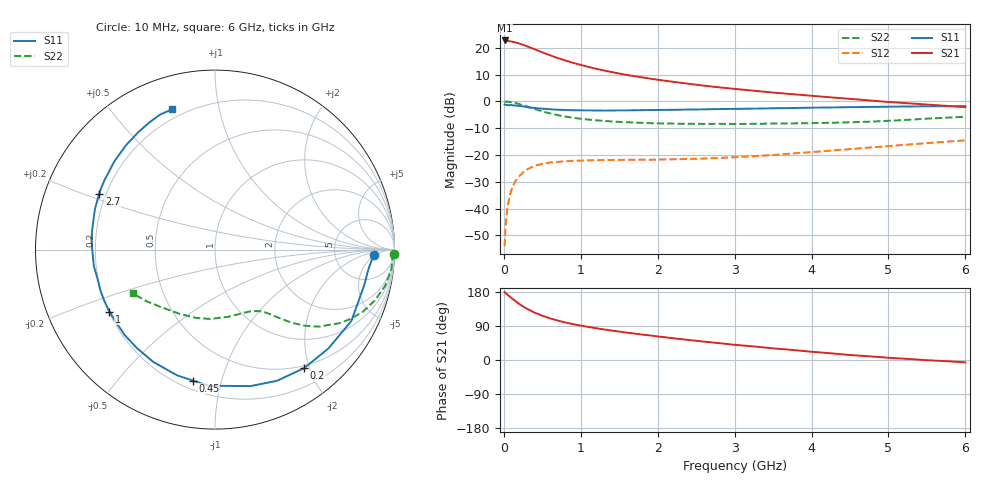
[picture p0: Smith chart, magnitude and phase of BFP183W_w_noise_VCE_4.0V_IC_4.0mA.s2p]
! Infineon Technologies  Discrete & RF Semiconductors
! BFP183W
! VCE =  4.0 V,  IC =  4.0 mA
! Common Emitter S-Parameters:  Jan 2017
# GHz  S  MA  R  50
!  f  S11  S21  S12  S22
! GHz  MAG  ANG  MAG  ANG  MAG  ANG  MAG  ANG
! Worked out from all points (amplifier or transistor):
!   77 points, 10 MHz to 6 GHz, reference 50 ohm
!   highest |S21| = 22.7 dB at 10 MHz (marker M1)
!   |S21| within 3 dB of that: start of sweep to 374 MHz
!   unconditionally stable (mu >= 1): 2.353 GHz to 4.499 GHz
!   at 130 MHz: K = 0.07, MSG = 26.5 dB, |S12| = -30.9 dB
!   at 2.2 GHz: K = 0.97, MSG = 14.4 dB, |S12| = -21.6 dB
!   at 6 GHz: K = 0.82, MSG = 6.2 dB, |S12| = -14.5 dB
!   lowest NFmin = 0.73 dB at 450 MHz
!   S11 on the Smith chart (normalised r, x): 10 MHz: 15, -4; 200 MHz: 0.46, -1.91; 450 MHz: 0.25, -0.81; 1 GHz: 0.20, -0.26; 2.7 GHz: 0.17, +0.22; 6 GHz: 0.15, +0.73
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0.01  0.8839 -2.0  13.7 179.5  0.002 86.3  0.9988 -1.3
0.02  0.8626 -7.0  13.52 176.8  0.0041 97.0  0.9895 -2.6
0.04  0.8557 -11.5  13.45 173.5  0.0087 84.8  0.9887 -5.0
0.1  0.8577 -27.6  13.1 163.5  0.0226 76.4  0.9686 -12.2
0.15  0.8382 -41.1  12.61 155.6  0.0326 69.0  0.9334 -17.8
0.2  0.8262 -53.1  12.01 148.0  0.0402 63.5  0.8934 -22.8
0.25  0.8084 -64.7  11.37 141.1  0.0475 57.2  0.8497 -27.0
0.3  0.786 -75.3  10.67 135.1  0.0538 52.6  0.8039 -30.7
0.4  0.7598 -92.6  9.388 124.9  0.0631 44.9  0.7218 -36.5
0.45  0.74 -99.6  8.775 121.1  0.0657 41.7  0.6874 -38.4
0.6  0.7142 -118.7  7.252 109.9  0.0726 34.5  0.5982 -43.2
0.7  0.7003 -128.4  6.439 104.1  0.0746 31.4  0.555 -45.2
0.8  0.6927 -136.7  5.8 99.0  0.0766 29.4  0.5221 -46.8
1  0.6821 -149.6  4.791 90.8  0.0788 26.1  0.4741 -49.5
1.1  0.6798 -155.2  4.4 87.3  0.0798 25.3  0.4586 -50.5
1.6  0.6809 -175.7  3.115 72.2  0.0817 23.7  0.4099 -56.7
2.1  0.694 168.9  2.427 59.9  0.0829 26.6  0.3878 -64.8
2.7  0.7154 154.4  1.898 46.5  0.0871 31.7  0.3809 -76.9
3.1  0.7287 146.3  1.659 38.4  0.0929 35.3  0.3807 -85.2
4.1  0.7671 128.8  1.24 20.2  0.1166 41.9  0.3964 -108.5
5.1  0.8 116.2  0.956 4.7  0.1507 43.0  0.4422 -134.2
6  0.8172 107.1  0.781 -6.1  0.1877 39.9  0.5185 -151.9
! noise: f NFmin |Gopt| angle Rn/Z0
0.45  0.73  0.32  50  0.29
0.9  0.9  0.29  94  0.14
1.9  1.5  0.43  165  0.08
2.4  1.78  0.48  179  0.08
